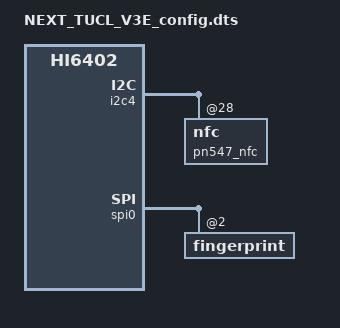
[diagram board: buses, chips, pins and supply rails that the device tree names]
/**
 * Copyright (C) 2014 Hisilicon Ltd.
 *
 *  This program is free software; you can redistribute it and/or modify
 *  it under the terms of the GNU General Public License version 2 as
 *  publishhed by the Free Software Foundation.
 */

/dts-v1/;
/include/ "fastboot.dtsi"
/include/ "NEXT_TUCL_V3_config.dtsi"
/include/ "NEXT_TUCL_V3E_pin.dtsi"
/include/ "NEXT_TUCL_V3E_modem_pin.dtsi"
/include/ "NEXT_TUCL_V3E_hi6402_pin.dtsi"

/ {
	hisi,boardid = <3 5 0 4>;
	hisi,boardname = "NEXT_TUCL_V3E";
	hisi,modem_id = <0x3C001800>;
	
	panel_lcd_jdi_NT35695_cut2_5 {
		lcd-bl-type = <4>;
	};

	panel_lcd_jdi_NT35695_cut3_1 {
		lcd-bl-type = <4>;
	};

	panel_lcd_lg_eR69006A {
		lcd-bl-type = <4>;
	};
	sensorhub{
		als_sensor:light{
			als1{
				als_phone_version = <10>;
			};
		};
	};

	amba {
		i2c4: i2c@FDF0D000 {
			pn547_nfc:nfc@28 {
				nfc_chip_type = "pn548";
				nfc_single_channel = "true";
			};
		};
		spi0: spi@ffd70000 {
				fingerprint: fingerprint@2 {
						fingerprint,reset_gpio = <112>;

						pinctrl-0 = <&gpio112_pmx_func &gpio004_hi6402_pinctrl_func &gpio112_cfg_func>;
						pinctrl-1 = <&gpio112_pmx_idle &gpio004_hi6402_pinctrl_idle &gpio112_cfg_idle>;
				};
		};
	};
};
